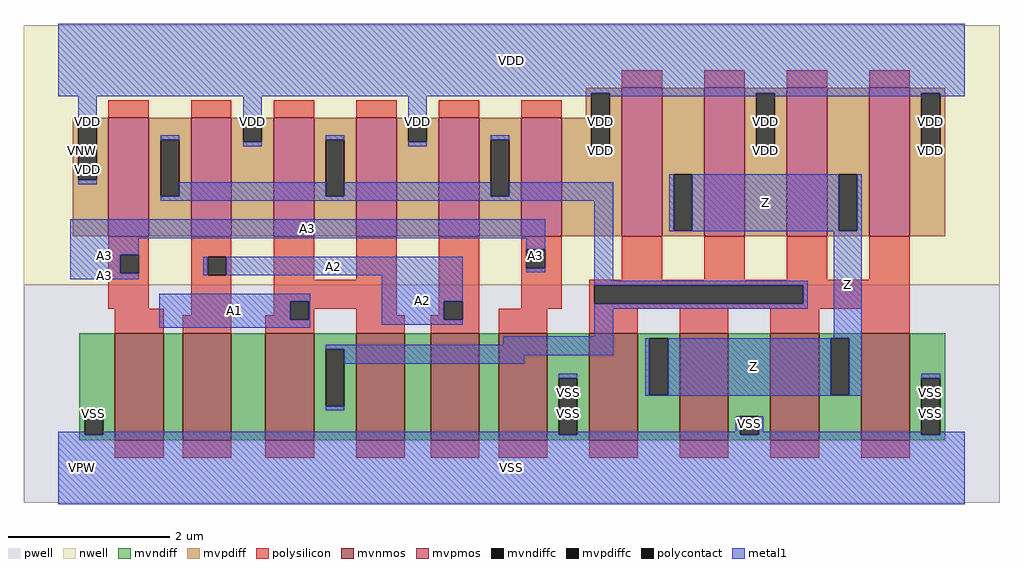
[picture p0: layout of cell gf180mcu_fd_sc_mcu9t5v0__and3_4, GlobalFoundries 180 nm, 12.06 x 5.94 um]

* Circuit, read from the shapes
.subckt gf180mcu_fd_sc_mcu9t5v0__and3_4 A1 A2 A3 Z VDD VNW VPW VSS
XM1 n1 A3 VSS VPW nfet_06v0 w=1.32u l=0.6u
XM2 n2 A2 n1 VPW nfet_06v0 w=1.32u l=0.6u
XM3 n3 A1 n2 VPW nfet_06v0 w=1.32u l=0.6u
XM4 n4 A1 n3 VPW nfet_06v0 w=1.32u l=0.6u
XM5 n5 A2 n4 VPW nfet_06v0 w=1.32u l=0.6u
XM6 VSS A3 n5 VPW nfet_06v0 w=1.32u l=0.6u
XM7 Z n3 VSS VPW nfet_06v0 w=1.32u l=0.6u m=4
XM8 n3 A3 VDD VNW pfet_06v0 w=1.46u l=0.5u m=2
XM9 VDD A2 n3 VNW pfet_06v0 w=1.46u l=0.5u m=2
XM10 n3 A1 VDD VNW pfet_06v0 w=1.46u l=0.5u m=2
XM11 Z n3 VDD VNW pfet_06v0 w=1.83u l=0.5u m=4
.ends

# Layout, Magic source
magic
tech gf180mcuD
magscale 1 10
<< nwell >>
rect -86 453 2326 1094
<< pwell >>
rect -86 -86 2326 453
<< mvnmos >>
rect 140 69 260 333
rect 308 69 428 333
rect 512 69 632 333
rect 736 69 856 333
rect 920 69 1040 333
rect 1088 69 1208 333
rect 1312 69 1432 333
rect 1536 69 1656 333
rect 1760 69 1880 333
rect 1984 69 2104 333
<< mvpmos >>
rect 124 573 224 865
rect 328 573 428 865
rect 532 573 632 865
rect 736 573 836 865
rect 940 573 1040 865
rect 1144 573 1244 865
rect 1392 573 1492 939
rect 1596 573 1696 939
rect 1800 573 1900 939
rect 2004 573 2104 939
<< mvndiff >>
rect 52 128 140 333
rect 52 82 65 128
rect 111 82 140 128
rect 52 69 140 82
rect 260 69 308 333
rect 428 69 512 333
rect 632 293 736 333
rect 632 153 661 293
rect 707 153 736 293
rect 632 69 736 153
rect 856 69 920 333
rect 1040 69 1088 333
rect 1208 222 1312 333
rect 1208 82 1237 222
rect 1283 82 1312 222
rect 1208 69 1312 82
rect 1432 320 1536 333
rect 1432 180 1461 320
rect 1507 180 1536 320
rect 1432 69 1536 180
rect 1656 128 1760 333
rect 1656 82 1685 128
rect 1731 82 1760 128
rect 1656 69 1760 82
rect 1880 320 1984 333
rect 1880 180 1909 320
rect 1955 180 1984 320
rect 1880 69 1984 180
rect 2104 222 2192 333
rect 2104 82 2133 222
rect 2179 82 2192 222
rect 2104 69 2192 82
<< mvpdiff >>
rect 1304 926 1392 939
rect 1304 865 1317 926
rect 36 852 124 865
rect 36 712 49 852
rect 95 712 124 852
rect 36 573 124 712
rect 224 811 328 865
rect 224 671 253 811
rect 299 671 328 811
rect 224 573 328 671
rect 428 852 532 865
rect 428 806 457 852
rect 503 806 532 852
rect 428 573 532 806
rect 632 811 736 865
rect 632 671 661 811
rect 707 671 736 811
rect 632 573 736 671
rect 836 852 940 865
rect 836 806 865 852
rect 911 806 940 852
rect 836 573 940 806
rect 1040 811 1144 865
rect 1040 671 1069 811
rect 1115 671 1144 811
rect 1040 573 1144 671
rect 1244 786 1317 865
rect 1363 786 1392 926
rect 1244 573 1392 786
rect 1492 726 1596 939
rect 1492 586 1521 726
rect 1567 586 1596 726
rect 1492 573 1596 586
rect 1696 926 1800 939
rect 1696 786 1725 926
rect 1771 786 1800 926
rect 1696 573 1800 786
rect 1900 726 2004 939
rect 1900 586 1929 726
rect 1975 586 2004 726
rect 1900 573 2004 586
rect 2104 926 2192 939
rect 2104 786 2133 926
rect 2179 786 2192 926
rect 2104 573 2192 786
<< mvndiffc >>
rect 65 82 111 128
rect 661 153 707 293
rect 1237 82 1283 222
rect 1461 180 1507 320
rect 1685 82 1731 128
rect 1909 180 1955 320
rect 2133 82 2179 222
<< mvpdiffc >>
rect 49 712 95 852
rect 253 671 299 811
rect 457 806 503 852
rect 661 671 707 811
rect 865 806 911 852
rect 1069 671 1115 811
rect 1317 786 1363 926
rect 1521 586 1567 726
rect 1725 786 1771 926
rect 1929 586 1975 726
rect 2133 786 2179 926
<< polysilicon >>
rect 1392 939 1492 983
rect 1596 939 1696 983
rect 1800 939 1900 983
rect 2004 939 2104 983
rect 124 865 224 909
rect 328 865 428 909
rect 532 865 632 909
rect 736 865 836 909
rect 940 865 1040 909
rect 1144 865 1244 909
rect 124 527 224 573
rect 124 481 153 527
rect 199 481 224 527
rect 124 393 224 481
rect 328 522 428 573
rect 328 476 369 522
rect 415 476 428 522
rect 140 333 260 393
rect 328 377 428 476
rect 532 465 632 573
rect 736 465 836 573
rect 532 412 836 465
rect 532 377 573 412
rect 308 333 428 377
rect 512 366 573 377
rect 619 393 836 412
rect 619 366 632 393
rect 512 333 632 366
rect 736 377 836 393
rect 940 412 1040 573
rect 940 377 953 412
rect 736 333 856 377
rect 920 366 953 377
rect 999 366 1040 412
rect 1144 540 1244 573
rect 1144 494 1157 540
rect 1203 494 1244 540
rect 1144 393 1244 494
rect 1392 465 1492 573
rect 1596 465 1696 573
rect 1800 465 1900 573
rect 2004 465 2104 573
rect 1312 452 2104 465
rect 1312 406 1325 452
rect 1841 406 2104 452
rect 1312 393 2104 406
rect 920 333 1040 366
rect 1088 333 1208 393
rect 1312 333 1432 393
rect 1536 333 1656 393
rect 1760 333 1880 393
rect 1984 333 2104 393
rect 140 25 260 69
rect 308 25 428 69
rect 512 25 632 69
rect 736 25 856 69
rect 920 25 1040 69
rect 1088 25 1208 69
rect 1312 25 1432 69
rect 1536 25 1656 69
rect 1760 25 1880 69
rect 1984 25 2104 69
<< polycontact >>
rect 153 481 199 527
rect 369 476 415 522
rect 573 366 619 412
rect 953 366 999 412
rect 1157 494 1203 540
rect 1325 406 1841 452
<< metal1 >>
rect 0 926 2240 1098
rect 0 918 1317 926
rect 49 852 95 918
rect 457 852 503 918
rect 49 701 95 712
rect 253 811 299 822
rect 865 852 911 918
rect 457 795 503 806
rect 661 811 707 822
rect 299 671 661 706
rect 865 795 911 806
rect 1069 811 1115 822
rect 707 671 1069 706
rect 1363 918 1725 926
rect 1317 775 1363 786
rect 1771 918 2133 926
rect 1725 775 1771 786
rect 2179 918 2240 926
rect 2133 775 2179 786
rect 1115 671 1371 706
rect 253 660 1371 671
rect 30 568 1204 614
rect 30 527 199 568
rect 30 481 153 527
rect 1157 540 1204 568
rect 30 466 199 481
rect 358 476 369 522
rect 415 476 1000 522
rect 1203 494 1204 540
rect 1157 483 1204 494
rect 249 412 623 430
rect 249 366 573 412
rect 619 366 623 412
rect 249 346 623 366
rect 799 412 1000 476
rect 799 366 953 412
rect 999 366 1000 412
rect 799 354 1000 366
rect 1325 462 1371 660
rect 1510 586 1521 726
rect 1567 586 1929 726
rect 1975 586 1986 726
rect 1510 585 1986 586
rect 1325 452 1852 462
rect 1841 406 1852 452
rect 1325 394 1852 406
rect 1325 325 1371 394
rect 1100 304 1371 325
rect 1916 320 1986 585
rect 661 293 1371 304
rect 707 279 1371 293
rect 707 258 1151 279
rect 661 142 707 153
rect 1237 222 1283 233
rect 65 128 111 139
rect 0 82 65 90
rect 111 82 1237 90
rect 1450 180 1461 320
rect 1507 180 1909 320
rect 1955 180 1986 320
rect 1450 179 1986 180
rect 2133 222 2179 233
rect 1674 90 1685 128
rect 1283 82 1685 90
rect 1731 90 1742 128
rect 1731 82 2133 90
rect 2179 82 2240 90
rect 0 -90 2240 82
<< labels >>
flabel metal1 s 249 346 623 430 0 FreeSans 200 0 0 0 A1
port 1 nsew default input
flabel metal1 s 358 476 1000 522 0 FreeSans 200 0 0 0 A2
port 2 nsew default input
flabel metal1 s 30 568 1204 614 0 FreeSans 200 0 0 0 A3
port 3 nsew default input
flabel metal1 s 0 918 2240 1098 0 FreeSans 200 0 0 0 VDD
port 5 nsew power bidirectional abutment
flabel metal1 s 2133 139 2179 233 0 FreeSans 200 0 0 0 VSS
port 8 nsew ground bidirectional abutment
flabel metal1 s 1510 585 1986 726 0 FreeSans 200 0 0 0 Z
port 4 nsew default output
flabel nwell s 10 734 110 834 0 FreeSans 400 0 0 0 VNW
port 6 nsew power bidirectional
flabel pwell s 10 -50 110 50 0 FreeSans 400 0 0 0 VPW
port 7 nsew ground bidirectional
rlabel metal1 s 799 354 1000 476 1 A2
port 2 nsew default input
rlabel metal1 s 1157 483 1204 568 1 A3
port 3 nsew default input
rlabel metal1 s 30 483 199 568 1 A3
port 3 nsew default input
rlabel metal1 s 30 466 199 483 1 A3
port 3 nsew default input
rlabel metal1 s 1916 320 1986 585 1 Z
port 4 nsew default output
rlabel metal1 s 1450 179 1986 320 1 Z
port 4 nsew default output
rlabel metal1 s 2133 795 2179 918 1 VDD
port 5 nsew power bidirectional abutment
rlabel metal1 s 1725 795 1771 918 1 VDD
port 5 nsew power bidirectional abutment
rlabel metal1 s 1317 795 1363 918 1 VDD
port 5 nsew power bidirectional abutment
rlabel metal1 s 865 795 911 918 1 VDD
port 5 nsew power bidirectional abutment
rlabel metal1 s 457 795 503 918 1 VDD
port 5 nsew power bidirectional abutment
rlabel metal1 s 49 795 95 918 1 VDD
port 5 nsew power bidirectional abutment
rlabel metal1 s 2133 775 2179 795 1 VDD
port 5 nsew power bidirectional abutment
rlabel metal1 s 1725 775 1771 795 1 VDD
port 5 nsew power bidirectional abutment
rlabel metal1 s 1317 775 1363 795 1 VDD
port 5 nsew power bidirectional abutment
rlabel metal1 s 49 775 95 795 1 VDD
port 5 nsew power bidirectional abutment
rlabel metal1 s 49 701 95 775 1 VDD
port 5 nsew power bidirectional abutment
rlabel metal1 s 1237 139 1283 233 1 VSS
port 8 nsew ground bidirectional abutment
rlabel metal1 s 2133 128 2179 139 1 VSS
port 8 nsew ground bidirectional abutment
rlabel metal1 s 1237 128 1283 139 1 VSS
port 8 nsew ground bidirectional abutment
rlabel metal1 s 65 128 111 139 1 VSS
port 8 nsew ground bidirectional abutment
rlabel metal1 s 2133 90 2179 128 1 VSS
port 8 nsew ground bidirectional abutment
rlabel metal1 s 1674 90 1742 128 1 VSS
port 8 nsew ground bidirectional abutment
rlabel metal1 s 1237 90 1283 128 1 VSS
port 8 nsew ground bidirectional abutment
rlabel metal1 s 65 90 111 128 1 VSS
port 8 nsew ground bidirectional abutment
rlabel metal1 s 0 -90 2240 90 1 VSS
port 8 nsew ground bidirectional abutment
<< properties >>
string FIXED_BBOX 0 0 2240 1008
string GDS_END 1150534
string GDS_FILE $PDKPATH/libs.ref/gf180mcu_fd_sc_mcu9t5v0/gds/gf180mcu_fd_sc_mcu9t5v0.gds
string GDS_START 1144532
string LEFclass core
string LEFsite GF018hv5v_green_sc9
string LEFsymmetry X Y
<< end >>
